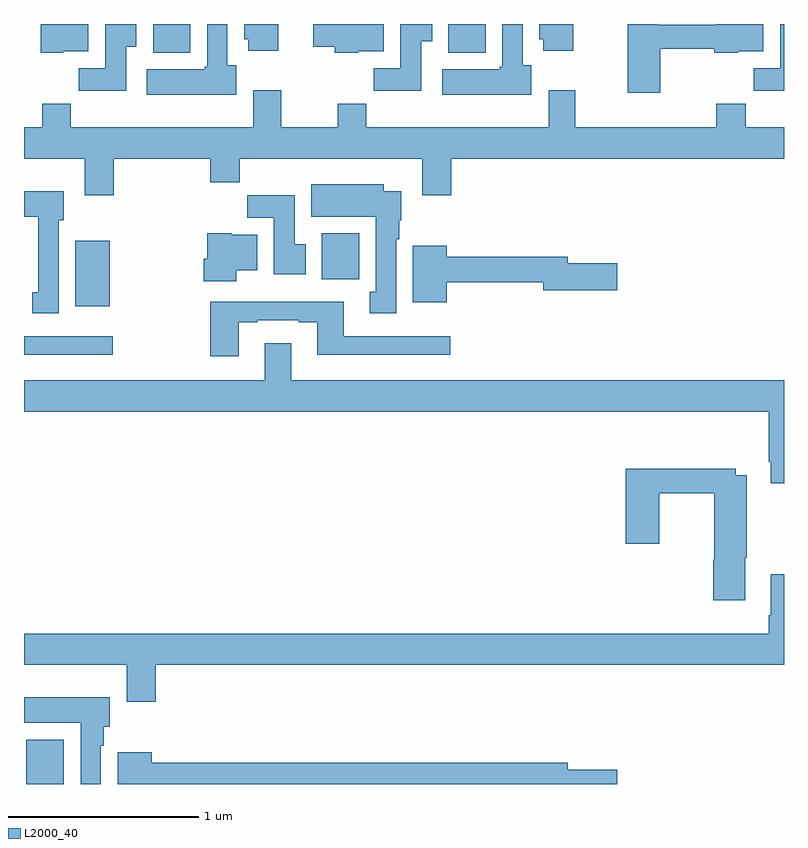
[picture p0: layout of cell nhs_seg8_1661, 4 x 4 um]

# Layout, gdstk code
import gdstk
lib = gdstk.Library(unit=1e-6, precision=1e-09)
def R(c, l, rs):  # rectangles x0, y0, x1, y1
    for r in rs: c.add(gdstk.rectangle(r[:2], r[2:], *l))
def P(c, l, *ps):  # polygons
    for p in ps: c.add(gdstk.Polygon(p, *l))
L2000_40 = (2000, 40)

nhs_seg8_1661 = lib.new_cell('nhs_seg8_1661')
R(nhs_seg8_1661, L2000_40, [(217.013,1087.9,217.21,1088.134), (217,1090.16,217.468,1090.257), (217.271,1090.415,217.45,1090.759), (218.567,1090.556,218.764,1090.798), (217.679,1091.75,217.876,1091.9), (219.233,1091.75,219.429,1091.9)])
P(nhs_seg8_1661, L2000_40, [(219.67,1091.682),(219.625,1091.682),(219.625,1091.9),(219.518,1091.9),(219.518,1091.676),(219.505,1091.676),(219.505,1091.662),(219.201,1091.662),(219.201,1091.528),(219.67,1091.528)],
  [(217.206,1091.756),(217.339,1091.756),(217.339,1091.9),(217.088,1091.9),(217.088,1091.75),(217.206,1091.75)],
  [(219.091,1091.809),(219.148,1091.809),(219.148,1091.9),(218.981,1091.9),(218.981,1091.668),(218.842,1091.668),(218.842,1091.55),(219.091,1091.55)],
  [(218.338,1091.9),(218.159,1091.9),(218.159,1091.82),(218.18,1091.82),(218.18,1091.76),(218.338,1091.76)],
  [(221,1091.9),(220.979,1091.9),(220.979,1091.668),(220.84,1091.668),(220.84,1091.55),(221,1091.55)],
  [(218.76,1091.756),(218.893,1091.756),(218.893,1091.9),(218.523,1091.9),(218.523,1091.779),(218.635,1091.779),(218.635,1091.75),(218.76,1091.75)],
  [(217.537,1091.78),(217.591,1091.78),(217.591,1091.9),(217.427,1091.9),(217.427,1091.668),(217.288,1091.668),(217.288,1091.55),(217.537,1091.55)],
  [(219.892,1091.9),(219.713,1091.9),(219.713,1091.82),(219.734,1091.82),(219.734,1091.76),(219.892,1091.76)],
  [(218.116,1091.682),(218.071,1091.682),(218.071,1091.9),(217.964,1091.9),(217.964,1091.676),(217.951,1091.676),(217.951,1091.662),(217.647,1091.662),(217.647,1091.528),(218.116,1091.528)],
  [(220.349,1091.769),(220.633,1091.769),(220.633,1091.75),(220.758,1091.75),(220.758,1091.756),(220.891,1091.756),(220.891,1091.9),(220.64,1091.9),(220.64,1091.897),(220.332,1091.897),(220.332,1091.9),(220.178,1091.9),(220.178,1091.538),(220.349,1091.538)],
  [(217.472,1091.192),(217.979,1091.192),(217.979,1091.068),(218.135,1091.068),(218.135,1091.192),(219.095,1091.192),(219.095,1090.998),(219.248,1090.998),(219.248,1091.192),(221,1091.192),(221,1091.356),(220.799,1091.356),(220.799,1091.48),(220.643,1091.48),(220.643,1091.356),(219.901,1091.356),(219.901,1091.551),(219.761,1091.551),(219.761,1091.356),(218.801,1091.356),(218.801,1091.48),(218.65,1091.48),(218.65,1091.356),(218.355,1091.356),(218.355,1091.551),(218.207,1091.551),(218.207,1091.356),(217.247,1091.356),(217.247,1091.48),(217.096,1091.48),(217.096,1091.356),(217,1091.356),(217,1091.192),(217.319,1091.192),(217.319,1090.998),(217.472,1090.998)],
  [(218.959,1090.766),(218.974,1090.766),(218.974,1090.866),(218.986,1090.866),(218.986,1091.02),(218.893,1091.02),(218.893,1091.056),(218.513,1091.056),(218.513,1090.886),(218.852,1090.886),(218.852,1090.49),(218.819,1090.49),(218.819,1090.377),(218.959,1090.377)],
  [(217.183,1090.866),(217.21,1090.866),(217.21,1091.02),(217,1091.02),(217,1090.886),(217.076,1090.886),(217.076,1090.489),(217.043,1090.489),(217.043,1090.377),(217.183,1090.377)],
  [(218.482,1090.74),(218.425,1090.74),(218.425,1090.998),(218.176,1090.998),(218.176,1090.88),(218.315,1090.88),(218.315,1090.584),(218.482,1090.584)],
  [(218.116,1090.604),(218.227,1090.604),(218.227,1090.792),(218.094,1090.792),(218.094,1090.798),(217.964,1090.798),(217.964,1090.665),(217.946,1090.665),(217.946,1090.547),(218.116,1090.547)],
  [(219.226,1090.54),(219.734,1090.54),(219.734,1090.498),(220.123,1090.498),(220.123,1090.64),(219.862,1090.64),(219.862,1090.676),(219.226,1090.676),(219.226,1090.732),(219.047,1090.732),(219.047,1090.436),(219.226,1090.436)],
  [(218.131,1090.329),(218.227,1090.329),(218.227,1090.341),(218.447,1090.341),(218.447,1090.329),(218.543,1090.329),(218.543,1090.16),(219.244,1090.16),(219.244,1090.257),(218.683,1090.257),(218.683,1090.438),(217.979,1090.438),(217.979,1090.152),(218.131,1090.152)],
  [(221,1090.024),(218.407,1090.024),(218.407,1090.219),(218.267,1090.219),(218.267,1090.024),(217,1090.024),(217,1089.86),(220.919,1089.86),(220.919,1089.595),(220.931,1089.595),(220.931,1089.483),(221,1089.483)],
  [(220.795,1089.091),(220.803,1089.091),(220.803,1089.526),(220.746,1089.526),(220.746,1089.559),(220.166,1089.559),(220.166,1089.165),(220.344,1089.165),(220.344,1089.43),(220.633,1089.43),(220.633,1089.08),(220.628,1089.08),(220.628,1088.868),(220.795,1088.868)],
  [(217.694,1088.528),(221,1088.528),(221,1089.004),(220.931,1089.004),(220.931,1088.788),(220.919,1088.788),(220.919,1088.692),(217,1088.692),(217,1088.528),(217.541,1088.528),(217.541,1088.334),(217.694,1088.334)],
  [(217.405,1088.102),(217.42,1088.102),(217.42,1088.202),(217.45,1088.202),(217.45,1088.356),(217,1088.356),(217,1088.222),(217.298,1088.222),(217.298,1087.9),(217.405,1087.9)],
  [(220.123,1087.976),(219.862,1087.976),(219.862,1088.012),(217.672,1088.012),(217.672,1088.068),(217.493,1088.068),(217.493,1087.9),(220.123,1087.9)])

lib.write_gds('nhs_seg8_1661.gds')
